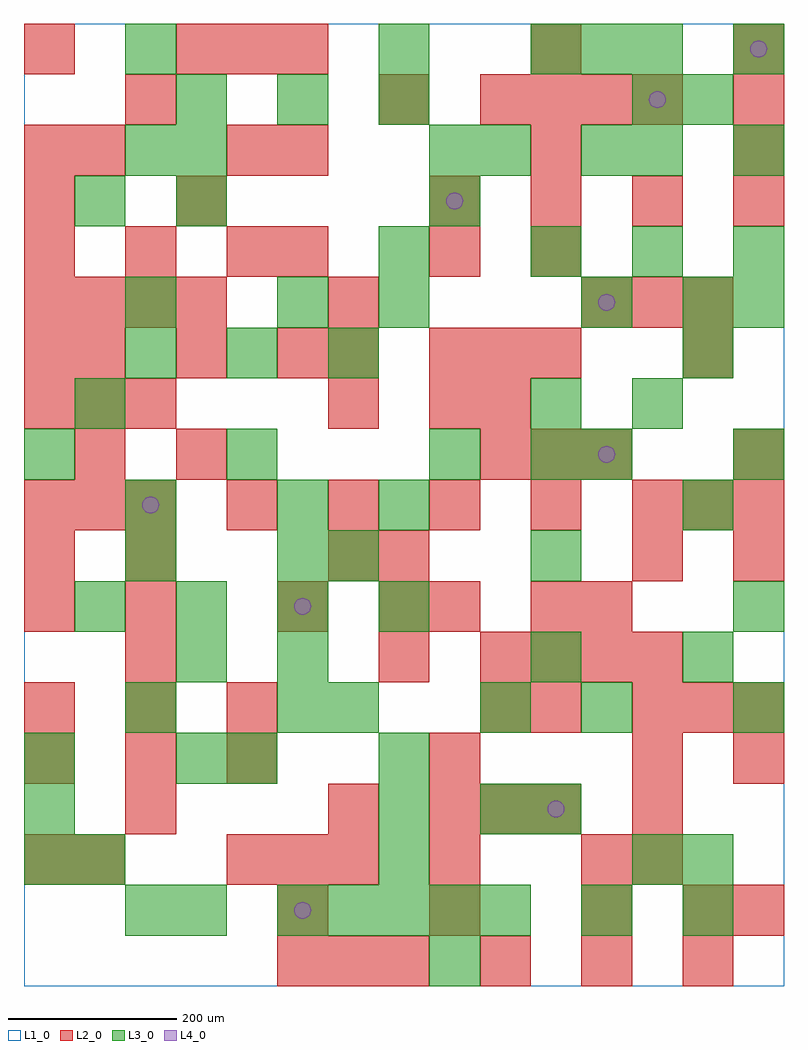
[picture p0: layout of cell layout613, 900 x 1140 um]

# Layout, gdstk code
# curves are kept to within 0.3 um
import gdstk
lib = gdstk.Library(unit=1e-6, precision=1e-09)
def R(c, l, rs):  # rectangles x0, y0, x1, y1
    for r in rs: c.add(gdstk.rectangle(r[:2], r[2:], *l))
def A(c, l, x, y, w, h, nx, ny, dx, dy):  # array of equal rectangles
    R(c, l, [(x+i*dx, y+j*dy, x+i*dx+w, y+j*dy+h) for i in range(nx) for j in range(ny)])
def P(c, l, *ps):  # polygons
    for p in ps: c.add(gdstk.Polygon(p, *l))
L1_0 = (1, 0)
L2_0 = (2, 0)
L3_0 = (3, 0)
L4_0 = (4, 0)

layout613 = lib.new_cell('layout613')
R(layout613, L1_0, [(0,0,900,1140)])
A(layout613, L2_0, 300, 0, 60, 60, 3, 1, 60, 0)
A(layout613, L2_0, 540, 0, 60, 60, 3, 1, 120, 0)
A(layout613, L2_0, 300, 60, 60, 60, 3, 1, 180, 0)
A(layout613, L2_0, 240, 120, 60, 60, 3, 1, 60, 0)
A(layout613, L2_0, 720, 120, 60, 60, 1, 3, 0, 60)
A(layout613, L2_0, 480, 180, 60, 60, 3, 2, 60, 540)
A(layout613, L2_0, 0, 240, 60, 60, 3, 2, 120, 60)
A(layout613, L2_0, 720, 300, 60, 60, 3, 1, 60, 0)
A(layout613, L2_0, 120, 360, 60, 60, 1, 3, 0, 60)
A(layout613, L2_0, 420, 360, 60, 60, 1, 3, 0, 60)
A(layout613, L2_0, 540, 360, 60, 60, 4, 2, 60, 660)
A(layout613, L2_0, 840, 480, 60, 60, 1, 3, 0, 60)
A(layout613, L2_0, 0, 540, 60, 60, 3, 2, 60, 120)
A(layout613, L2_0, 240, 540, 60, 60, 5, 1, 120, 0)
A(layout613, L2_0, 540, 600, 60, 60, 3, 1, 60, 0)
A(layout613, L2_0, 360, 660, 60, 60, 1, 3, 0, 60)
A(layout613, L2_0, 60, 720, 60, 60, 3, 1, 120, 0)
A(layout613, L2_0, 0, 780, 60, 60, 4, 1, 60, 0)
A(layout613, L2_0, 660, 780, 60, 60, 3, 1, 60, 0)
A(layout613, L2_0, 0, 840, 60, 60, 3, 1, 120, 0)
A(layout613, L2_0, 600, 840, 60, 60, 1, 3, 0, 120)
A(layout613, L2_0, 480, 900, 60, 60, 4, 1, 120, 0)
A(layout613, L2_0, 840, 960, 60, 60, 1, 3, 0, 60)
A(layout613, L2_0, 180, 1080, 60, 60, 3, 1, 60, 0)
R(layout613, L2_0, [(780,60,840,120), (840,60,900,120), (0,120,60,180), (60,120,120,180), (480,120,540,180), (660,120,720,180), (120,180,180,240), (360,180,420,240), (480,240,540,300), (840,240,900,300), (540,300,600,360), (600,300,660,360), (0,420,60,480), (300,420,360,480), (480,420,540,480), (600,420,660,480), (660,420,720,480), (0,480,60,540), (360,480,420,540), (720,480,780,540), (780,540,840,600), (60,600,120,660), (180,600,240,660), (480,660,540,720), (540,660,600,720), (0,720,60,780), (780,720,840,780), (300,840,360,900), (480,840,540,900), (0,900,60,960), (180,900,240,960), (0,960,60,1020), (60,960,120,1020), (240,960,300,1020), (300,960,360,1020), (120,1020,180,1080), (420,1020,480,1080), (0,1080,60,1140)])
A(layout613, L3_0, 300, 60, 60, 60, 5, 1, 60, 0)
A(layout613, L3_0, 0, 120, 60, 60, 1, 3, 0, 60)
A(layout613, L3_0, 420, 120, 60, 60, 1, 3, 0, 60)
A(layout613, L3_0, 600, 360, 60, 60, 1, 3, 0, 120)
A(layout613, L3_0, 780, 360, 60, 60, 1, 3, 0, 180)
A(layout613, L3_0, 60, 420, 60, 60, 4, 1, 120, 0)
A(layout613, L3_0, 840, 420, 60, 60, 1, 4, 0, 180)
A(layout613, L3_0, 0, 600, 60, 60, 3, 1, 240, 0)
A(layout613, L3_0, 660, 600, 60, 60, 1, 3, 0, 180)
A(layout613, L3_0, 120, 720, 60, 60, 3, 1, 120, 0)
A(layout613, L3_0, 600, 840, 60, 60, 3, 1, 120, 0)
A(layout613, L3_0, 180, 1020, 60, 60, 3, 1, 120, 0)
A(layout613, L3_0, 600, 1080, 60, 60, 3, 1, 60, 0)
R(layout613, L3_0, [(480,0,540,60), (120,60,180,120), (180,60,240,120), (660,60,720,120), (780,60,840,120), (60,120,120,180), (720,120,780,180), (780,120,840,180), (540,180,600,240), (600,180,660,240), (180,240,240,300), (240,240,300,300), (120,300,180,360), (300,300,360,360), (360,300,420,360), (540,300,600,360), (660,300,720,360), (840,300,900,360), (180,360,240,420), (300,360,360,420), (120,480,180,540), (300,480,360,540), (360,480,420,540), (120,540,180,600), (300,540,360,600), (420,540,480,600), (60,660,120,720), (600,660,660,720), (720,660,780,720), (120,780,180,840), (300,780,360,840), (420,780,480,840), (780,780,840,840), (420,840,480,900), (60,900,120,960), (180,900,240,960), (480,900,540,960), (120,960,180,1020), (180,960,240,1020), (480,960,540,1020), (540,960,600,1020), (720,960,780,1020), (720,1020,780,1080), (780,1020,840,1080), (120,1080,180,1140), (420,1080,480,1140), (840,1080,900,1140)])
P(layout613, L4_0, [(160,570),(159.239,573.827),(157.071,577.071),(153.827,579.239),(150,580),(146.173,579.239),(142.929,577.071),(140.761,573.827),(140,570),(140.761,566.173),(142.929,562.929),(146.173,560.761),(150,560),(153.827,560.761),(157.071,562.929),(159.239,566.173)],
  [(340,90),(339.239,93.827),(337.071,97.071),(333.827,99.239),(330,100),(326.173,99.239),(322.929,97.071),(320.761,93.827),(320,90),(320.761,86.173),(322.929,82.929),(326.173,80.761),(330,80),(333.827,80.761),(337.071,82.929),(339.239,86.173)],
  [(340,450),(339.239,453.827),(337.071,457.071),(333.827,459.239),(330,460),(326.173,459.239),(322.929,457.071),(320.761,453.827),(320,450),(320.761,446.173),(322.929,442.929),(326.173,440.761),(330,440),(333.827,440.761),(337.071,442.929),(339.239,446.173)],
  [(520,930),(519.239,933.827),(517.071,937.071),(513.827,939.239),(510,940),(506.173,939.239),(502.929,937.071),(500.761,933.827),(500,930),(500.761,926.173),(502.929,922.929),(506.173,920.761),(510,920),(513.827,920.761),(517.071,922.929),(519.239,926.173)],
  [(640,210),(639.239,213.827),(637.071,217.071),(633.827,219.239),(630,220),(626.173,219.239),(622.929,217.071),(620.761,213.827),(620,210),(620.761,206.173),(622.929,202.929),(626.173,200.761),(630,200),(633.827,200.761),(637.071,202.929),(639.239,206.173)],
  [(700,630),(699.239,633.827),(697.071,637.071),(693.827,639.239),(690,640),(686.173,639.239),(682.929,637.071),(680.761,633.827),(680,630),(680.761,626.173),(682.929,622.929),(686.173,620.761),(690,620),(693.827,620.761),(697.071,622.929),(699.239,626.173)],
  [(700,810),(699.239,813.827),(697.071,817.071),(693.827,819.239),(690,820),(686.173,819.239),(682.929,817.071),(680.761,813.827),(680,810),(680.761,806.173),(682.929,802.929),(686.173,800.761),(690,800),(693.827,800.761),(697.071,802.929),(699.239,806.173)],
  [(760,1050),(759.239,1053.827),(757.071,1057.071),(753.827,1059.239),(750,1060),(746.173,1059.239),(742.929,1057.071),(740.761,1053.827),(740,1050),(740.761,1046.173),(742.929,1042.929),(746.173,1040.761),(750,1040),(753.827,1040.761),(757.071,1042.929),(759.239,1046.173)],
  [(880,1110),(879.239,1113.827),(877.071,1117.071),(873.827,1119.239),(870,1120),(866.173,1119.239),(862.929,1117.071),(860.761,1113.827),(860,1110),(860.761,1106.173),(862.929,1102.929),(866.173,1100.761),(870,1100),(873.827,1100.761),(877.071,1102.929),(879.239,1106.173)])

lib.write_gds('layout613.gds')
